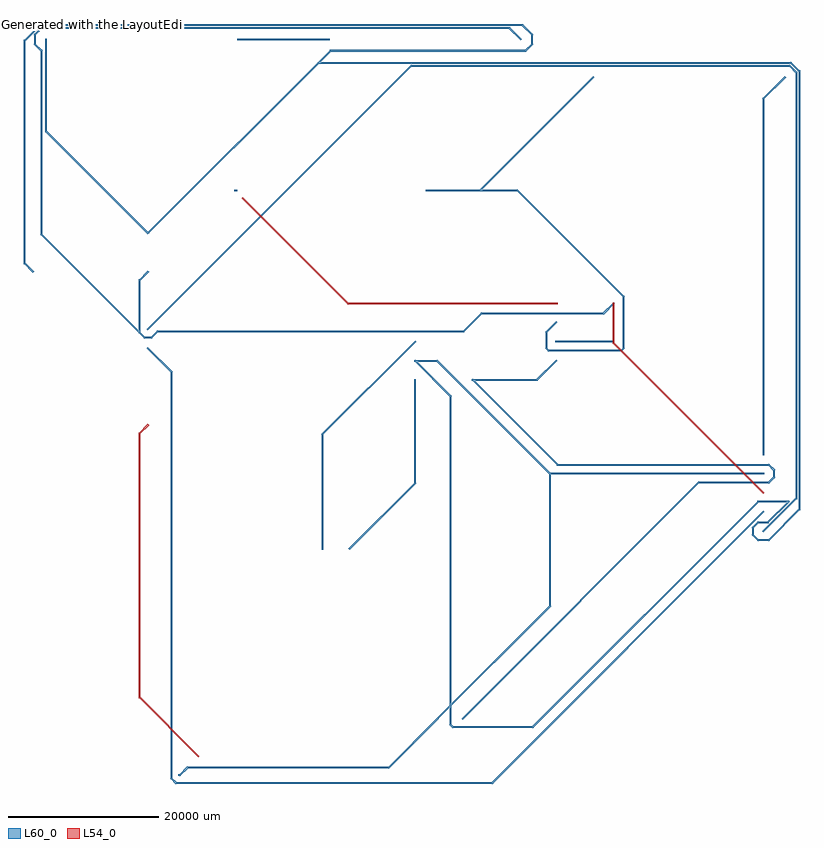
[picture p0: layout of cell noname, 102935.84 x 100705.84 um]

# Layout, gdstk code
import gdstk
lib = gdstk.Library(unit=1e-6, precision=1e-09)
L54_0 = (54, 0)
L60_0 = (60, 0)

noname = lib.new_cell('noname')
noname.add(gdstk.FlexPath([(131439,-121021),(167340,-85120)], 200, ends="round", simple_path=True, layer=60, datatype=0))  # L60_0
noname.add(gdstk.FlexPath([(88899,-120422.913),(89497.087,-121021)], 200, ends="round", simple_path=True, layer=60, datatype=0))  # L60_0
noname.add(gdstk.FlexPath([(85790,-63440),(88899,-66549)], 200, ends="round", simple_path=True, layer=60, datatype=0))  # L60_0
noname.add(gdstk.FlexPath([(88899,-66549),(88899,-120422.913)], 200, ends="round", simple_path=True, layer=60, datatype=0))  # L60_0
noname.add(gdstk.FlexPath([(89497.087,-121021),(131439,-121021)], 200, ends="round", simple_path=True, layer=60, datatype=0))  # L60_0
noname.add(gdstk.FlexPath([(147500,-60000),(147500,-62540)], 200, ends="round", simple_path=True, layer=60, datatype=0))  # L60_0
noname.add(gdstk.FlexPath([(139880,-62540),(147500,-62540)], 200, ends="round", simple_path=True, layer=60, datatype=0))  # L60_0
noname.add(gdstk.FlexPath([(97300,-42500),(97500,-42500)], 200, ends="round", simple_path=True, layer=60, datatype=0))  # L60_0
noname.add(gdstk.FlexPath([(167340,-77500),(167340,-30360)], 200, ends="round", simple_path=True, layer=60, datatype=0))  # L60_0
noname.add(gdstk.FlexPath([(167340,-30360),(170200,-27500)], 200, ends="round", simple_path=True, layer=60, datatype=0))  # L60_0
noname.add(gdstk.FlexPath([(148485.16,-63731),(148801,-63415.16)], 200, ends="round", simple_path=True, layer=60, datatype=0))  # L60_0
noname.add(gdstk.FlexPath([(122700,-42500),(129800,-42500)], 200, ends="round", simple_path=True, layer=60, datatype=0))  # L60_0
noname.add(gdstk.FlexPath([(138579,-63415.16),(138894.84,-63731)], 200, ends="round", simple_path=True, layer=60, datatype=0))  # L60_0
noname.add(gdstk.FlexPath([(148801,-63415.16),(148801,-56584.84)], 200, ends="round", simple_path=True, layer=60, datatype=0))  # L60_0
noname.add(gdstk.FlexPath([(139880,-60000),(138579,-61301)], 200, ends="round", simple_path=True, layer=60, datatype=0))  # L60_0
noname.add(gdstk.FlexPath([(134716.16,-42500),(129800,-42500)], 200, ends="round", simple_path=True, layer=60, datatype=0))  # L60_0
noname.add(gdstk.FlexPath([(138579,-61301),(138579,-63415.16)], 200, ends="round", simple_path=True, layer=60, datatype=0))  # L60_0
noname.add(gdstk.FlexPath([(148801,-56584.84),(134716.16,-42500)], 200, ends="round", simple_path=True, layer=60, datatype=0))  # L60_0
noname.add(gdstk.FlexPath([(138894.84,-63731),(148485.16,-63731)], 200, ends="round", simple_path=True, layer=60, datatype=0))  # L60_0
noname.add(gdstk.FlexPath([(129800,-42500),(144800,-27500)], 200, ends="round", simple_path=True, layer=60, datatype=0))  # L60_0
noname.add(gdstk.FlexPath([(97700,-22500),(109800,-22500)], 200, ends="round", simple_path=True, layer=60, datatype=0))  # L60_0
noname.add(gdstk.FlexPath([(127500,-112500),(158789,-81211)], 200, ends="round", simple_path=True, layer=60, datatype=0))  # L60_0
noname.add(gdstk.FlexPath([(168050.044,-78869),(140059,-78869)], 200, ends="round", simple_path=True, layer=60, datatype=0))  # L60_0
noname.add(gdstk.FlexPath([(168736,-79554.956),(168050.044,-78869)], 200, ends="round", simple_path=True, layer=60, datatype=0))  # L60_0
noname.add(gdstk.FlexPath([(168736,-80525.044),(168736,-79554.956)], 200, ends="round", simple_path=True, layer=60, datatype=0))  # L60_0
noname.add(gdstk.FlexPath([(158789,-81211),(168050.044,-81211)], 200, ends="round", simple_path=True, layer=60, datatype=0))  # L60_0
noname.add(gdstk.FlexPath([(140059,-78869),(128810,-67620)], 200, ends="round", simple_path=True, layer=60, datatype=0))  # L60_0
noname.add(gdstk.FlexPath([(137340,-67620),(139880,-65080)], 200, ends="round", simple_path=True, layer=60, datatype=0))  # L60_0
noname.add(gdstk.FlexPath([(168050.044,-81211),(168736,-80525.044)], 200, ends="round", simple_path=True, layer=60, datatype=0))  # L60_0
noname.add(gdstk.FlexPath([(128810,-67620),(137340,-67620)], 200, ends="round", simple_path=True, layer=60, datatype=0))  # L60_0
noname.add(gdstk.FlexPath([(112500,-90000),(121190,-81310)], 200, ends="round", simple_path=True, layer=60, datatype=0))  # L60_0
noname.add(gdstk.FlexPath([(121190,-81310),(121190,-67620)], 200, ends="round", simple_path=True, layer=60, datatype=0))  # L60_0
noname.add(gdstk.FlexPath([(108900,-74830),(121190,-62540)], 200, ends="round", simple_path=True, layer=60, datatype=0))  # L60_0
noname.add(gdstk.FlexPath([(108900,-90000),(108900,-74830)], 200, ends="round", simple_path=True, layer=60, datatype=0))  # L60_0
noname.add(gdstk.FlexPath([(167340,-82580),(147500,-62740)], 200, ends="round", simple_path=True, layer=54, datatype=0))  # L54_0
noname.add(gdstk.FlexPath([(147500,-62740),(147500,-57500)], 200, ends="round", simple_path=True, layer=54, datatype=0))  # L54_0
noname.add(gdstk.FlexPath([(133699,-20999),(135200,-22500)], 200, ends="round", simple_path=True, layer=60, datatype=0))  # L60_0
noname.add(gdstk.FlexPath([(84689,-61356.05),(84689,-54381)], 200, ends="round", simple_path=True, layer=60, datatype=0))  # L60_0
noname.add(gdstk.FlexPath([(71678.265,-20999),(133699,-20999)], 200, ends="round", simple_path=True, layer=60, datatype=0))  # L60_0
noname.add(gdstk.FlexPath([(71678.265,-24001),(70799,-23121.735)], 200, ends="round", simple_path=True, layer=60, datatype=0))  # L60_0
noname.add(gdstk.FlexPath([(130001,-58809),(146151,-58809)], 200, ends="round", simple_path=True, layer=60, datatype=0))  # L60_0
noname.add(gdstk.FlexPath([(87056.05,-61191),(86246.05,-62001)], 200, ends="round", simple_path=True, layer=60, datatype=0))  # L60_0
noname.add(gdstk.FlexPath([(146151,-58809),(147500,-57460)], 200, ends="round", simple_path=True, layer=60, datatype=0))  # L60_0
noname.add(gdstk.FlexPath([(84689,-54381),(85790,-53280)], 200, ends="round", simple_path=True, layer=60, datatype=0))  # L60_0
noname.add(gdstk.FlexPath([(86246.05,-62001),(85333.95,-62001)], 200, ends="round", simple_path=True, layer=60, datatype=0))  # L60_0
noname.add(gdstk.FlexPath([(127619,-61191),(87056.05,-61191)], 200, ends="round", simple_path=True, layer=60, datatype=0))  # L60_0
noname.add(gdstk.FlexPath([(70799,-21878.265),(71678.265,-20999)], 200, ends="round", simple_path=True, layer=60, datatype=0))  # L60_0
noname.add(gdstk.FlexPath([(85333.95,-62001),(84689,-61356.05)], 200, ends="round", simple_path=True, layer=60, datatype=0))  # L60_0
noname.add(gdstk.FlexPath([(128810,-60000),(127619,-61191)], 200, ends="round", simple_path=True, layer=60, datatype=0))  # L60_0
noname.add(gdstk.FlexPath([(128810,-60000),(130001,-58809)], 200, ends="round", simple_path=True, layer=60, datatype=0))  # L60_0
noname.add(gdstk.FlexPath([(71678.265,-48345.315),(71678.265,-24001)], 200, ends="round", simple_path=True, layer=60, datatype=0))  # L60_0
noname.add(gdstk.FlexPath([(85333.95,-62001),(71678.265,-48345.315)], 200, ends="round", simple_path=True, layer=60, datatype=0))  # L60_0
noname.add(gdstk.FlexPath([(70799,-23121.735),(70799,-21878.265)], 200, ends="round", simple_path=True, layer=60, datatype=0))  # L60_0
noname.add(gdstk.FlexPath([(125874,-113285.16),(126189.84,-113601)], 200, ends="round", simple_path=True, layer=60, datatype=0))  # L60_0
noname.add(gdstk.FlexPath([(166629.956,-86489),(165944,-87174.956)], 200, ends="round", simple_path=True, layer=60, datatype=0))  # L60_0
noname.add(gdstk.FlexPath([(136779.956,-113601),(166629.956,-83751)], 200, ends="round", simple_path=True, layer=60, datatype=0))  # L60_0
noname.add(gdstk.FlexPath([(172102,-84779.044),(172102,-26712.165)], 200, ends="round", simple_path=True, layer=60, datatype=0))  # L60_0
noname.add(gdstk.FlexPath([(126189.84,-113601),(136779.956,-113601)], 200, ends="round", simple_path=True, layer=60, datatype=0))  # L60_0
noname.add(gdstk.FlexPath([(125874,-69764),(125874,-113285.16)], 200, ends="round", simple_path=True, layer=60, datatype=0))  # L60_0
noname.add(gdstk.FlexPath([(135420.735,-20598),(136701,-21878.265)], 200, ends="round", simple_path=True, layer=60, datatype=0))  # L60_0
noname.add(gdstk.FlexPath([(71512.165,-20598),(135420.735,-20598)], 200, ends="round", simple_path=True, layer=60, datatype=0))  # L60_0
noname.add(gdstk.FlexPath([(109989,-24001),(85790,-48200)], 200, ends="round", simple_path=True, layer=60, datatype=0))  # L60_0
noname.add(gdstk.FlexPath([(117671,-118979),(124150,-112500)], 200, ends="round", simple_path=True, layer=60, datatype=0))  # L60_0
noname.add(gdstk.FlexPath([(85790,-48200),(72300,-34710)], 200, ends="round", simple_path=True, layer=60, datatype=0))  # L60_0
noname.add(gdstk.FlexPath([(136701,-23121.735),(135821.735,-24001)], 200, ends="round", simple_path=True, layer=60, datatype=0))  # L60_0
noname.add(gdstk.FlexPath([(72300,-34710),(72300,-22500)], 200, ends="round", simple_path=True, layer=60, datatype=0))  # L60_0
noname.add(gdstk.FlexPath([(124093.84,-65080),(121190,-65080)], 200, ends="round", simple_path=True, layer=60, datatype=0))  # L60_0
noname.add(gdstk.FlexPath([(166629.956,-88831),(168050.044,-88831)], 200, ends="round", simple_path=True, layer=60, datatype=0))  # L60_0
noname.add(gdstk.FlexPath([(89920,-120000),(90000,-120000)], 200, ends="round", simple_path=True, layer=60, datatype=0))  # L60_0
noname.add(gdstk.FlexPath([(136701,-21878.265),(136701,-23121.735)], 200, ends="round", simple_path=True, layer=60, datatype=0))  # L60_0
noname.add(gdstk.FlexPath([(167340,-80040),(139053.84,-80040)], 200, ends="round", simple_path=True, layer=60, datatype=0))  # L60_0
noname.add(gdstk.FlexPath([(168050.044,-88831),(172102,-84779.044)], 200, ends="round", simple_path=True, layer=60, datatype=0))  # L60_0
noname.add(gdstk.FlexPath([(69449,-22661.165),(71512.165,-20598)], 200, ends="round", simple_path=True, layer=60, datatype=0))  # L60_0
noname.add(gdstk.FlexPath([(91021,-118979),(117671,-118979)], 200, ends="round", simple_path=True, layer=60, datatype=0))  # L60_0
noname.add(gdstk.FlexPath([(139053.84,-97596.16),(124150,-112500)], 200, ends="round", simple_path=True, layer=60, datatype=0))  # L60_0
noname.add(gdstk.FlexPath([(90000,-120000),(91021,-118979)], 200, ends="round", simple_path=True, layer=60, datatype=0))  # L60_0
noname.add(gdstk.FlexPath([(165944,-87174.956),(165944,-88145.044)], 200, ends="round", simple_path=True, layer=60, datatype=0))  # L60_0
noname.add(gdstk.FlexPath([(172102,-26712.165),(170987.835,-25598)], 200, ends="round", simple_path=True, layer=60, datatype=0))  # L60_0
noname.add(gdstk.FlexPath([(170987.835,-25598),(108392,-25598)], 200, ends="round", simple_path=True, layer=60, datatype=0))  # L60_0
noname.add(gdstk.FlexPath([(108392,-25598),(85790,-48200)], 200, ends="round", simple_path=True, layer=60, datatype=0))  # L60_0
noname.add(gdstk.FlexPath([(69449,-52179),(69449,-22661.165)], 200, ends="round", simple_path=True, layer=60, datatype=0))  # L60_0
noname.add(gdstk.FlexPath([(167943.9,-86489),(166629.956,-86489)], 200, ends="round", simple_path=True, layer=60, datatype=0))  # L60_0
noname.add(gdstk.FlexPath([(170681.9,-83751),(167943.9,-86489)], 200, ends="round", simple_path=True, layer=60, datatype=0))  # L60_0
noname.add(gdstk.FlexPath([(139053.84,-80040),(139053.84,-97596.16)], 200, ends="round", simple_path=True, layer=60, datatype=0))  # L60_0
noname.add(gdstk.FlexPath([(166629.956,-83751),(170681.9,-83751)], 200, ends="round", simple_path=True, layer=60, datatype=0))  # L60_0
noname.add(gdstk.FlexPath([(165944,-88145.044),(166629.956,-88831)], 200, ends="round", simple_path=True, layer=60, datatype=0))  # L60_0
noname.add(gdstk.FlexPath([(70550,-53280),(69449,-52179)], 200, ends="round", simple_path=True, layer=60, datatype=0))  # L60_0
noname.add(gdstk.FlexPath([(139053.84,-80040),(124093.84,-65080)], 200, ends="round", simple_path=True, layer=60, datatype=0))  # L60_0
noname.add(gdstk.FlexPath([(121190,-65080),(125874,-69764)], 200, ends="round", simple_path=True, layer=60, datatype=0))  # L60_0
noname.add(gdstk.FlexPath([(135821.735,-24001),(109989,-24001)], 200, ends="round", simple_path=True, layer=60, datatype=0))  # L60_0
noname.add(gdstk.FlexPath([(84689,-74701),(85790,-73600)], 200, ends="round", simple_path=True, layer=54, datatype=0))  # L54_0
noname.add(gdstk.FlexPath([(92460,-117460),(84689,-109689)], 200, ends="round", simple_path=True, layer=54, datatype=0))  # L54_0
noname.add(gdstk.FlexPath([(84689,-109689),(84689,-74701)], 200, ends="round", simple_path=True, layer=54, datatype=0))  # L54_0
noname.add(gdstk.FlexPath([(171701,-83299),(171701,-26878.265)], 200, ends="round", simple_path=True, layer=60, datatype=0))  # L60_0
noname.add(gdstk.FlexPath([(167340,-87660),(171701,-83299)], 200, ends="round", simple_path=True, layer=60, datatype=0))  # L60_0
noname.add(gdstk.FlexPath([(120691,-25999),(85790,-60900)], 200, ends="round", simple_path=True, layer=60, datatype=0))  # L60_0
noname.add(gdstk.FlexPath([(170821.735,-25999),(120691,-25999)], 200, ends="round", simple_path=True, layer=60, datatype=0))  # L60_0
noname.add(gdstk.FlexPath([(171701,-26878.265),(170821.735,-25999)], 200, ends="round", simple_path=True, layer=60, datatype=0))  # L60_0
noname.add(gdstk.FlexPath([(112300,-57500),(98361.367,-43561.367)], 200, ends="round", simple_path=True, layer=54, datatype=0))  # L54_0
noname.add(gdstk.FlexPath([(140000,-57500),(112300,-57500)], 200, ends="round", simple_path=True, layer=54, datatype=0))  # L54_0
noname.add(gdstk.Label('Generated with the LayoutEditor (This message will NOT be added by any commercial version of the LayoutEditor.)', (69349,-20498), layer=60, texttype=13476))

lib.write_gds('noname.gds')
